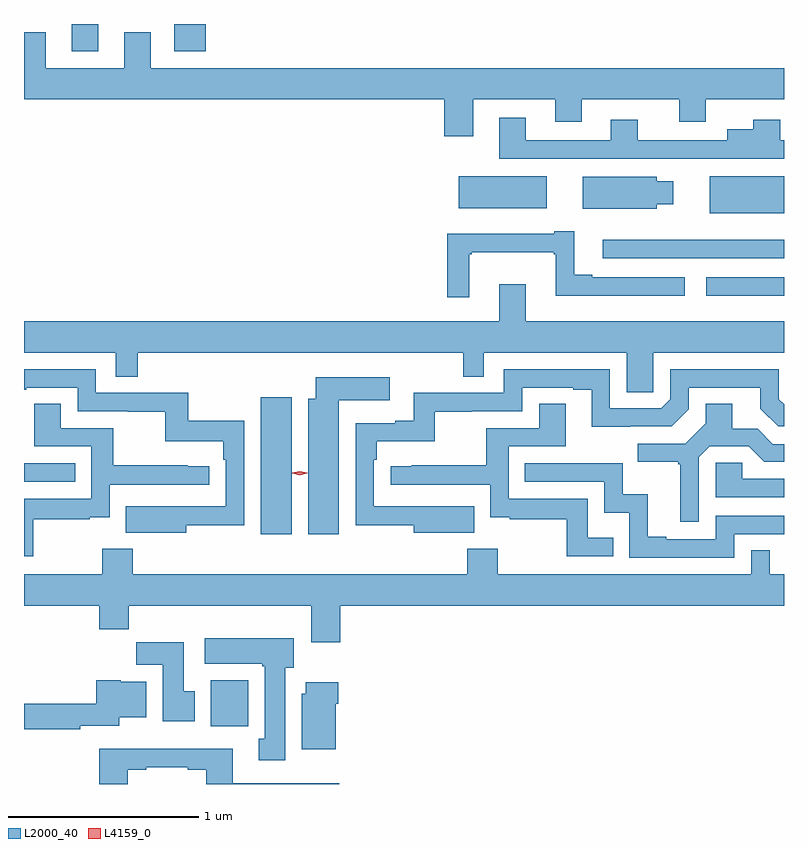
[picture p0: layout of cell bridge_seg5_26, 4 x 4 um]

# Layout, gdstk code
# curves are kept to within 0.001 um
import gdstk
lib = gdstk.Library(unit=1e-6, precision=1e-09)
def R(c, l, rs):  # rectangles x0, y0, x1, y1
    for r in rs: c.add(gdstk.rectangle(r[:2], r[2:], *l))
def P(c, l, *ps):  # polygons
    for p in ps: c.add(gdstk.Polygon(p, *l))
L2000_40 = (2000, 40)
L4159_0 = (4159, 0)

bridge_seg5_26 = lib.new_cell('bridge_seg5_26')
R(bridge_seg5_26, L2000_40, [(1125.659,885.428,1125.856,885.67), (1125.923,886.44,1126.084,887.161), (1124.676,886.716,1124.945,886.812), (1128.267,887.696,1128.676,887.793), (1127.721,887.892,1128.676,887.989), (1128.284,888.128,1128.676,888.325), (1126.964,888.155,1127.428,888.325), (1124.927,888.981,1125.067,889.125), (1125.467,888.981,1125.632,889.125)])
P(bridge_seg5_26, L2000_40, [(1127.041,888.728),(1127.471,888.728),(1127.471,888.611),(1127.611,888.611),(1127.611,888.728),(1128.125,888.728),(1128.125,888.611),(1128.265,888.611),(1128.265,888.728),(1128.676,888.728),(1128.676,888.892),(1125.343,888.892),(1125.343,889.082),(1125.203,889.082),(1125.203,888.892),(1124.791,888.892),(1124.791,889.081),(1124.676,889.081),(1124.676,888.728),(1126.889,888.728),(1126.889,888.534),(1127.041,888.534)],
  [(1128.676,888.513),(1128.655,888.513),(1128.655,888.622),(1128.515,888.622),(1128.515,888.571),(1128.377,888.571),(1128.377,888.513),(1127.905,888.513),(1127.905,888.622),(1127.765,888.622),(1127.765,888.513),(1127.317,888.513),(1127.317,888.631),(1127.177,888.631),(1127.177,888.417),(1128.676,888.417)],
  [(1128.006,888.176),(1128.094,888.176),(1128.094,888.298),(1128.006,888.298),(1128.006,888.322),(1127.618,888.322),(1127.618,888.152),(1128.006,888.152)],
  [(1127.02,887.913),(1127.032,887.913),(1127.032,887.924),(1127.463,887.924),(1127.463,887.913),(1127.474,887.913),(1127.474,887.696),(1128.154,887.696),(1128.154,887.793),(1127.668,887.793),(1127.668,887.806),(1127.572,887.806),(1127.572,888.034),(1127.468,888.034),(1127.468,888.022),(1126.903,888.022),(1126.903,887.688),(1127.02,887.688)],
  [(1127.988,887.396),(1128.676,887.396),(1128.676,887.56),(1127.317,887.56),(1127.317,887.755),(1127.177,887.755),(1127.177,887.56),(1124.676,887.56),(1124.676,887.396),(1125.159,887.396),(1125.159,887.269),(1125.275,887.269),(1125.275,887.396),(1126.989,887.396),(1126.989,887.269),(1127.097,887.269),(1127.097,887.396),(1127.849,887.396),(1127.849,887.188),(1127.988,887.188)],
  [(1127.045,886.588),(1126.518,886.587),(1126.518,886.832),(1126.532,886.832),(1126.532,886.928),(1126.837,886.928),(1126.837,887.083),(1127.033,887.083),(1127.033,887.088),(1127.298,887.088),(1127.298,887.211),(1127.567,887.211),(1127.567,887.199),(1127.663,887.199),(1127.663,887.006),(1128.084,887.007),(1128.174,887.097),(1128.174,887.211),(1128.551,887.211),(1128.551,887.101),(1128.645,887.007),(1128.676,887.007),(1128.676,887.123),(1128.648,887.151),(1128.648,887.307),(1128.078,887.307),(1128.078,887.151),(1128.03,887.103),(1127.76,887.103),(1127.76,887.307),(1127.202,887.307),(1127.202,887.184),(1126.728,887.184),(1126.728,887.038),(1126.631,887.038),(1126.631,887.025),(1126.422,887.025),(1126.422,886.486),(1126.727,886.486),(1126.727,886.448),(1127.045,886.448)],
  [(1125.529,886.486),(1125.834,886.486),(1125.834,887.038),(1125.541,887.038),(1125.541,887.184),(1125.054,887.184),(1125.054,887.307),(1124.676,887.307),(1124.676,887.199),(1124.689,887.199),(1124.689,887.211),(1124.958,887.211),(1124.958,887.088),(1125.223,887.088),(1125.223,887.083),(1125.42,887.083),(1125.42,886.928),(1125.725,886.928),(1125.725,886.832),(1125.738,886.832),(1125.738,886.587),(1125.425,886.587),(1125.425,886.588),(1125.211,886.588),(1125.211,886.448),(1125.529,886.448)],
  [(1126.333,887.144),(1126.6,887.144),(1126.6,887.266),(1126.211,887.266),(1126.211,887.152),(1126.172,887.152),(1126.172,886.44),(1126.333,886.44)],
  [(1127.777,886.42),(1127.643,886.42),(1127.643,886.626),(1127.226,886.626),(1127.226,886.902),(1127.527,886.902),(1127.527,887.126),(1127.387,887.126),(1127.387,886.998),(1127.11,886.998),(1127.11,886.802),(1126.717,886.802),(1126.717,886.797),(1126.605,886.797),(1126.605,886.701),(1127.13,886.701),(1127.13,886.529),(1127.233,886.529),(1127.233,886.518),(1127.532,886.518),(1127.532,886.323),(1127.777,886.323)],
  [(1128.228,886.845),(1128.285,886.902),(1128.491,886.902),(1128.572,886.821),(1128.676,886.821),(1128.676,886.914),(1128.618,886.914),(1128.538,886.994),(1128.403,886.994),(1128.403,887.126),(1128.263,887.126),(1128.263,887.024),(1128.156,886.917),(1127.907,886.917),(1127.907,886.82),(1128.12,886.82),(1128.12,886.809),(1128.131,886.809),(1128.131,886.506),(1128.228,886.506)],
  [(1124.725,886.518),(1125.023,886.518),(1125.023,886.529),(1125.126,886.529),(1125.126,886.701),(1125.652,886.701),(1125.652,886.797),(1125.539,886.797),(1125.539,886.802),(1125.146,886.802),(1125.146,886.998),(1124.869,886.998),(1124.869,887.126),(1124.729,887.126),(1124.729,886.902),(1125.03,886.902),(1125.03,886.626),(1124.676,886.626),(1124.676,886.323),(1124.725,886.323)],
  [(1128.676,886.731),(1128.455,886.731),(1128.455,886.815),(1128.318,886.815),(1128.318,886.635),(1128.676,886.635)],
  [(1128.414,886.44),(1128.676,886.44),(1128.676,886.536),(1128.318,886.536),(1128.318,886.413),(1128.055,886.413),(1128.055,886.426),(1127.959,886.426),(1127.959,886.651),(1127.826,886.651),(1127.826,886.812),(1127.311,886.812),(1127.311,886.716),(1127.73,886.716),(1127.73,886.553),(1127.862,886.553),(1127.862,886.317),(1128.414,886.317)],
  [(1126.34,886.064),(1128.676,886.064),(1128.676,886.228),(1128.6,886.228),(1128.6,886.355),(1128.504,886.355),(1128.504,886.228),(1127.169,886.228),(1127.169,886.363),(1127.009,886.363),(1127.009,886.228),(1125.248,886.228),(1125.248,886.363),(1125.088,886.363),(1125.088,886.228),(1124.676,886.228),(1124.676,886.064),(1125.071,886.064),(1125.071,885.94),(1125.227,885.94),(1125.227,886.064),(1126.187,886.064),(1126.187,885.87),(1126.34,885.87)],
  [(1126.051,885.738),(1126.096,885.738),(1126.096,885.892),(1125.627,885.892),(1125.627,885.758),(1125.931,885.758),(1125.931,885.745),(1125.944,885.745),(1125.944,885.362),(1125.911,885.362),(1125.911,885.249),(1126.051,885.249)],
  [(1125.574,885.612),(1125.517,885.612),(1125.517,885.871),(1125.268,885.871),(1125.268,885.752),(1125.407,885.752),(1125.407,885.456),(1125.574,885.456)],
  [(1124.972,885.432),(1125.178,885.432),(1125.178,885.476),(1125.319,885.476),(1125.319,885.664),(1125.186,885.664),(1125.186,885.67),(1125.056,885.67),(1125.056,885.548),(1124.676,885.548),(1124.676,885.412),(1124.972,885.412)],
  [(1126.318,885.548),(1126.331,885.548),(1126.331,885.661),(1126.16,885.661),(1126.16,885.6),(1126.139,885.6),(1126.139,885.308),(1126.318,885.308)],
  [(1125.223,885.201),(1125.319,885.201),(1125.319,885.213),(1125.539,885.213),(1125.539,885.201),(1125.635,885.201),(1125.635,885.125),(1126.336,885.125),(1126.336,885.129),(1125.775,885.129),(1125.775,885.31),(1125.071,885.31),(1125.071,885.125),(1125.223,885.125)])
P(bridge_seg5_26, L4159_0, [(1126.128,886.751),(1126.088,886.761),(1126.088,886.761),(1126.088,886.762),(1126.128,886.771),(1126.168,886.762),(1126.168,886.761),(1126.168,886.761)])

lib.write_gds('bridge_seg5_26.gds')
